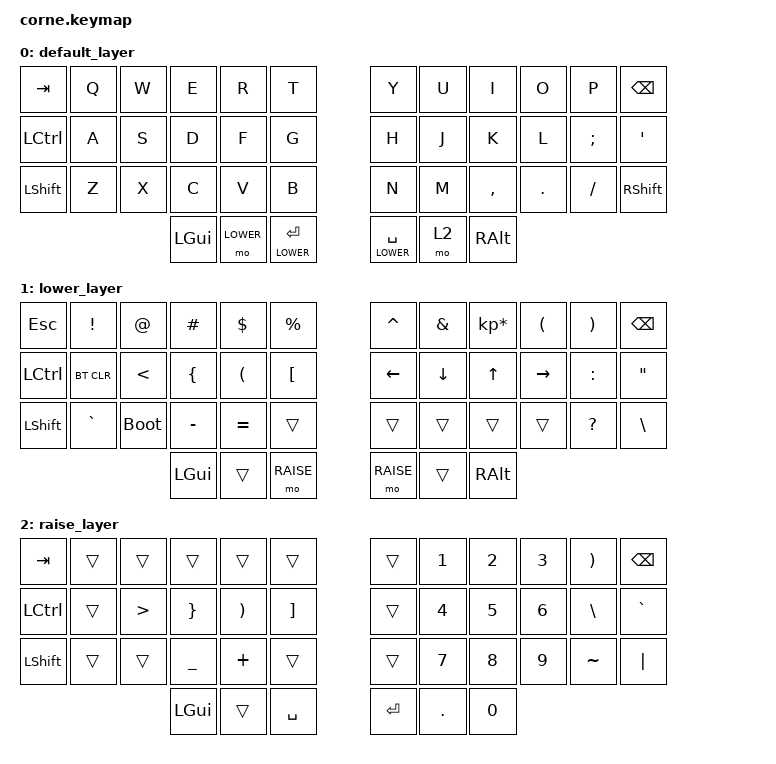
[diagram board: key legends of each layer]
/*
 * Copyright (c) 2020 The ZMK Contributors
 *
 * SPDX-License-Identifier: MIT
 */

#include <behaviors.dtsi>
#include <dt-bindings/zmk/keys.h>
#include <dt-bindings/zmk/bt.h>

#define DEFAULT 0
#define LOWER   1
#define RAISE   2

/ {
        keymap {
                compatible = "zmk,keymap";

                default_layer {
// -----------------------------------------------------------------------------------------
// |  TAB |  Q  |  W  |  E  |  R  |  T  |             |  Y  |  U   |  I  |  O  |  P  | BKSP |
// | CTRL |  A  |  S  |  D  |  F  |  G  |             |  H  |  J   |  K  |  L  |  ;  |  '   |
// | SHFT |  Z  |  X  |  C  |  V  |  B  |             |  N  |  M   |  ,  |  .  |  /  | RSHIFT  |
//                    | GUI | LWR | &lt LOWER RET |   | &lt LOWER SPC | RSE  | ALT |
                        bindings = <
   &kp TAB   &kp Q &kp W &kp E &kp R &kp T            &kp Y &kp U  &kp I     &kp O   &kp P    &kp BSPC
   &kp LCTRL &kp A &kp S &kp D &kp F &kp G            &kp H &kp J  &kp K     &kp L   &kp SEMI &kp SQT
   &kp LSHFT &kp Z &kp X &kp C &kp V &kp B            &kp N &kp M  &kp COMMA &kp DOT &kp FSLH &kp RSHFT
                  &kp LGUI &mo LOWER &lt LOWER RET    &lt LOWER SPACE &mo 2 &kp RALT
                        >;
                };
                lower_layer {
// -----------------------------------------------------------------------------------------
// |  ESC |  !  |  @  |  #  |  $  |  %  |     |  ^  |  &  |  *  |  (  |  )  | BKSP |
// | CTRL |  &bt BT_CLR   |  <  |  {  | (   | [   |     | LFT | DWN |  UP | RGT |  :  |   "  |
// | SHFT |  `  | &bootloader    |  -  |  =  |     |     |     |     |     |     |  ?  |   \  |
//                    | GUI |     | RAISE |   | RAISE |     | ALT |
                        bindings = <
   &kp ESC    &kp EXCL   &kp AT  &kp HASH   &kp DLLR  &kp PRCNT        &kp CARET   &kp AMPS  &kp KP_MULTIPLY  &kp LPAR   &kp RPAR    &kp BSPC
   &kp LCTRL  &bt BT_CLR &kp LT  &kp LBRC   &kp LPAR  &kp LBKT         &kp LEFT    &kp DOWN  &kp UP           &kp RIGHT  &kp COLON   &kp DQT
   &kp LSHFT  &kp GRAVE  &bootloader  &kp MINUS  &kp EQUAL &trans           &trans      &trans    &trans           &trans     &kp QMARK   &kp BSLH
                          	 &kp LGUI   &trans    &mo RAISE        &mo RAISE   &trans    &kp RALT
                        >;
                };

                raise_layer {
// -----------------------------------------------------------------------------------------
// |  TAB |     |     |     |     |     |   |    |  1  |  2  |  3  |     | BKSP |
// | CTRL |     |  >  |  }  |  )  |  ]  |   |    |  4  |  5  |  6  |     |  `   |
// | SHFT |     |     |   _ |  +  |     |   |    |  7  |  8  |  9  |  ~  | "|"  |
//                    | GUI |     | SPC |  | ENT |  .  | 0   |
                        bindings = <
   &kp TAB    &trans   &trans  &trans    &trans     &trans        &trans &kp N1  &kp N2  &kp N3  &kp RPAR &kp BSPC
   &kp LCTRL  &trans   &kp GT  &kp RBRC  &kp RPAR   &kp RBKT      &trans &kp N4  &kp N5  &kp N6 &kp BSLH &kp GRAVE
   &kp LSHFT  &trans   &trans  &kp UNDER &kp PLUS   &trans        &trans &kp N7  &kp N8  &kp N9 &kp TILDE &kp PIPE
                    	      &kp LGUI   &trans     &kp SPACE     &kp RET  &kp DOT  &kp N0
                        >;
                };
        };
};
